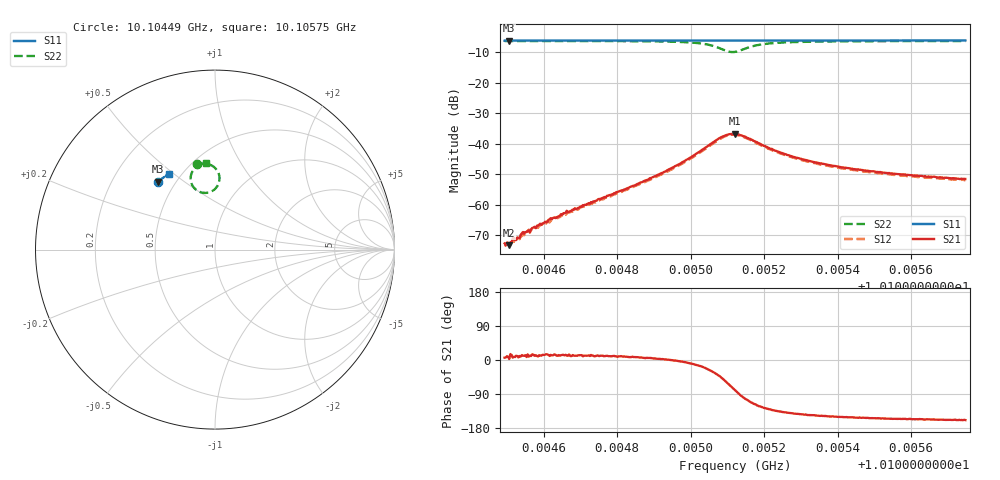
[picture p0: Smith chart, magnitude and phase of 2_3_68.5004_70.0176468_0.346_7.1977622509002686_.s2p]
#  HZ  S  RI  R  50.00
! Rohde & Schwarz Vector Network Analyzer
! Rohde-Schwarz,ZNB20-2Port,1311601062101988,3.16
! Created: UTC 3/20/2024, 4:48:40 PM
! freq[Hz]  re:S11  im:S11  re:S21  im:S21  re:S12  im:S12  re:S22  im:S22
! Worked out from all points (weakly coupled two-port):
!   401 points, 10.10449 GHz to 10.10575 GHz, reference 50 ohm
!   highest |S21| = -36.70 dB at 10.10512 GHz (marker M1); lowest = -73.3 dB at 10.10451 GHz (marker M2)
!   lowest |S11| = -6.1 dB at 10.10451 GHz (marker M3), VSWR 2.94, Z = 20.2 + j20.1 ohm
!   |S11| at or under -10 dB: nowhere
!   |S22| runs from -9.9 to -6.3 dB; largest |S21 - S12| = 0.0016
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1.0104493e10  -0.317 0.3773  0.000232 2.55e-05  0.000199 6.91e-05  -0.0981 0.4752
1.0104506e10  -0.3163 0.3778  0.000217 9.64e-06  0.000209 5.72e-05  -0.0969 0.4755
1.0104522e10  -0.3156 0.3784  0.000265 3.63e-05  0.000262 9.75e-05  -0.0955 0.4756
1.0104528e10  -0.3153 0.3786  0.000288 5.39e-05  0.000266 9.48e-05  -0.095 0.4757
1.0104544e10  -0.3148 0.3794  0.000353 7.22e-05  0.000317 8.11e-05  -0.0937 0.4759
1.0104556e10  -0.3141 0.3798  0.000363 9.52e-05  0.00035 0.000104  -0.0924 0.4763
1.0104619e10  -0.3111 0.3825  0.00059 0.000141  0.000519 0.000173  -0.0861 0.4775
1.0104704e10  -0.3072 0.386  0.000914 0.000208  0.000887 0.000267  -0.0766 0.4786
1.0104823e10  -0.3016 0.3905  0.0018 0.000277  0.00169 0.000431  -0.0592 0.4793
1.0104914e10  -0.2973 0.3941  0.00317 0.000174  0.00299 0.00046  -0.0387 0.4764
1.0104986e10  -0.2937 0.397  0.00532 -0.000549  0.0051 -8.15e-05  -0.0116 0.4646
1.0105033e10  -0.2913 0.3986  0.0077 -0.00254  0.00756 -0.00171  0.0138 0.4382
1.0105067e10  -0.2893 0.3995  0.00919 -0.00649  0.00935 -0.00529  0.025 0.3918
1.0105096e10  -0.2881 0.4002  0.00756 -0.0116  0.0085 -0.0104  -0.000643 0.3373
1.0105121e10  -0.2872 0.4008  0.00262 -0.0144  0.00387 -0.0136  -0.0619 0.3162
1.0105155e10  -0.2861 0.4022  -0.00346 -0.012  -0.00231 -0.0119  -0.1249 0.3557
1.0105199e10  -0.2842 0.4041  -0.0055 -0.00749  -0.0047 -0.00774  -0.1347 0.4107
1.0105265e10  -0.2809 0.4068  -0.00496 -0.00428  -0.00443 -0.00452  -0.1176 0.4477
1.0105331e10  -0.2778 0.4092  -0.00425 -0.0029  -0.00381 -0.00311  -0.1022 0.4624
1.0105406e10  -0.2741 0.4122  -0.00364 -0.00209  -0.00329 -0.0023  -0.0888 0.4706
1.0105541e10  -0.2674 0.4169  -0.00302 -0.00142  -0.00274 -0.00163  -0.0715 0.4778
1.0105748e10  -0.2569 0.4239  -0.00248 -0.000973  -0.00228 -0.00114  -0.0516 0.483
